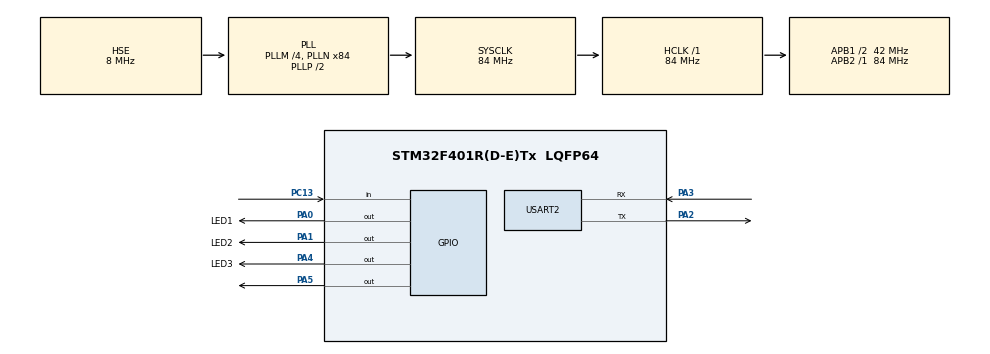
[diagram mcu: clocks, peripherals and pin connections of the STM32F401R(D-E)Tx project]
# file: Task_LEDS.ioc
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Mcu.Family=STM32F4
Mcu.Name=STM32F401R(D-E)Tx
Mcu.Package=LQFP64
NVIC.PriorityGroup=NVIC_PRIORITYGROUP_4
NVIC.TIM1_TRG_COM_TIM11_IRQn=true\:15\:0\:false\:false\:true\:false\:true\:true
NVIC.TimeBase=TIM1_TRG_COM_TIM11_IRQn
NVIC.TimeBaseIP=TIM11
NVIC.USART2_IRQn=true\:0\:0\:false\:false\:true\:true\:true\:true
PA0-WKUP.GPIO_Label=LED1
PA0-WKUP.Signal=GPIO_Output
PA1.GPIO_Label=LED2
PA1.Signal=GPIO_Output
PA2.Mode=Asynchronous
PA2.Signal=USART2_TX
PA3.Mode=Asynchronous
PA3.Signal=USART2_RX
PA4.GPIO_Label=LED3
PA4.Signal=GPIO_Output
PA5.Signal=GPIO_Output
PC13-ANTI_TAMP.Signal=GPIO_Input
PH0\ -\ OSC_IN.Mode=HSE-External-Clock-Source
PH0\ -\ OSC_IN.Signal=RCC_OSC_IN
PH1\ -\ OSC_OUT.Mode=HSE-External-Clock-Source
PH1\ -\ OSC_OUT.Signal=RCC_OSC_OUT
ProjectManager.HeapSize=0x200
ProjectManager.StackSize=0x400
ProjectManager.TargetToolchain=STM32CubeIDE
RCC.48MHZClocksFreq_Value=42000000
RCC.AHBFreq_Value=84000000
RCC.APB1CLKDivider=RCC_HCLK_DIV2
RCC.APB1Freq_Value=42000000
RCC.APB1TimFreq_Value=84000000
RCC.APB2Freq_Value=84000000
RCC.APB2TimFreq_Value=84000000
RCC.CortexFreq_Value=84000000
RCC.HCLKFreq_Value=84000000
RCC.HSE_VALUE=8000000
RCC.HSI_VALUE=16000000
RCC.LSE_VALUE=32768
RCC.PLLM=4
RCC.PLLN=84
RCC.PLLSourceVirtual=RCC_PLLSOURCE_HSE
RCC.SYSCLKFreq_VALUE=84000000
RCC.SYSCLKSource=RCC_SYSCLKSOURCE_PLLCLK
RCC.VCOOutputFreq_Value=168000000
USART2.VirtualMode=VM_ASYNC
VP_SYS_VS_tim11.Mode=TIM11
board=custom

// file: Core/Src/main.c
/* USER CODE BEGIN Header */
/**
  ******************************************************************************
  * @file           : main.c
  * @brief          : Main program body
  ******************************************************************************
  * @attention
  *
  * Copyright (c) 2022 STMicroelectronics.
  * All rights reserved.
  *
  * This software is licensed under terms that can be found in the LICENSE file
  * in the root directory of this software component.
  * If no LICENSE file comes with this software, it is provided AS-IS.
  *
  ******************************************************************************
  */
/* USER CODE END Header */
#include "main.h"
#include "usart.h"
#include "gpio.h"

/* USER CODE BEGIN Includes */
#include "FreeRTOS.h"
#include "task.h"
#include "cmsis_os.h"

#include <stdio.h>
#include <stdarg.h>
#include <string.h>
/* USER CODE END Includes */

/* USER CODE BEGIN PTD */

/**
 * 1. crear dos tareas y realizar la prueba con un leds usando las funciones
 * 		vtaskdelay y vtaskdelayuntil
 */

/* USER CODE END PTD */

/* USER CODE BEGIN PM */
/**
 * 0 : no se desea usar segger system view
 * 1 : se usa para la depuracion
 */
#define SYSTEM_VIEW				1
/* USER CODE END PM */

/* USER CODE BEGIN PV */
osThreadId led1_handle;
osThreadId led2_handle;
osThreadId led3_handle;
/* USER CODE END PV */

void SystemClock_Config(void);
/* USER CODE BEGIN PFP */
void Led1_task(const void *params);
void Led2_task(const void *params);
void Led3_task(const void *params);

void UART_Printf(char *format,...);
/* USER CODE END PFP */

/* USER CODE BEGIN 0 */

osThreadDef(Led1, Led1_task, osPriorityNormal, 0, 128);
osThreadDef(Led2, Led2_task, osPriorityNormal, 0, 128);
osThreadDef(Led3, Led3_task, osPriorityNormal, 0, 128);
/* USER CODE END 0 */

int main(void)
{

  /* MCU Configuration--------------------------------------------------------*/

  /* Reset of all peripherals, Initializes the Flash interface and the Systick. */
  HAL_Init();

  /* Configure the system clock */
  SystemClock_Config();

  /* Initialize all configured peripherals */
  MX_GPIO_Init();
  MX_USART2_UART_Init();
  /* USER CODE BEGIN 2 */
#if SYSTEM_VIEW
//  NVIC_SetPriorityGrouping(0);
  DWT->CTRL |= 1;
  SEGGER_SYSVIEW_Conf();
  /*solo se va usar cuando se trabaje en modo one shot*/
//  SEGGER_SYSVIEW_Start();

#endif

  led1_handle = osThreadCreate(osThread(Led1), NULL);
  configASSERT(led1_handle!=NULL);

  led2_handle = osThreadCreate(osThread(Led2), NULL);
  configASSERT(led2_handle!=NULL);

  led3_handle = osThreadCreate(osThread(Led3), NULL);
  configASSERT(led3_handle!=NULL);

  /* inicializa el kernel*/
  osKernelStart();
  /* USER CODE END 2 */

  /* Infinite loop */
  while (1)
  {

  }
}

void SystemClock_Config(void)
{
  RCC_OscInitTypeDef RCC_OscInitStruct = {0};
  RCC_ClkInitTypeDef RCC_ClkInitStruct = {0};

  /** Configure the main internal regulator output voltage
  */
  __HAL_RCC_PWR_CLK_ENABLE();
  __HAL_PWR_VOLTAGESCALING_CONFIG(PWR_REGULATOR_VOLTAGE_SCALE2);

  /** Initializes the RCC Oscillators according to the specified parameters
  * in the RCC_OscInitTypeDef structure.
  */
  RCC_OscInitStruct.OscillatorType = RCC_OSCILLATORTYPE_HSE;
  RCC_OscInitStruct.HSEState = RCC_HSE_BYPASS;
  RCC_OscInitStruct.PLL.PLLState = RCC_PLL_ON;
  RCC_OscInitStruct.PLL.PLLSource = RCC_PLLSOURCE_HSE;
  RCC_OscInitStruct.PLL.PLLM = 4;
  RCC_OscInitStruct.PLL.PLLN = 84;
  RCC_OscInitStruct.PLL.PLLP = RCC_PLLP_DIV2;
  RCC_OscInitStruct.PLL.PLLQ = 4;
  if (HAL_RCC_OscConfig(&RCC_OscInitStruct) != HAL_OK)
  {
    Error_Handler();
  }

  /** Initializes the CPU, AHB and APB buses clocks
  */
  RCC_ClkInitStruct.ClockType = RCC_CLOCKTYPE_HCLK|RCC_CLOCKTYPE_SYSCLK
                              |RCC_CLOCKTYPE_PCLK1|RCC_CLOCKTYPE_PCLK2;
  RCC_ClkInitStruct.SYSCLKSource = RCC_SYSCLKSOURCE_PLLCLK;
  RCC_ClkInitStruct.AHBCLKDivider = RCC_SYSCLK_DIV1;
  RCC_ClkInitStruct.APB1CLKDivider = RCC_HCLK_DIV2;
  RCC_ClkInitStruct.APB2CLKDivider = RCC_HCLK_DIV1;

  if (HAL_RCC_ClockConfig(&RCC_ClkInitStruct, FLASH_LATENCY_2) != HAL_OK)
  {
    Error_Handler();
  }
}

/* USER CODE BEGIN 4 */
void Led1_task(const void *params){

	for(;;){
		HAL_GPIO_TogglePin(LED1_GPIO_Port, LED1_Pin);
		UART_Printf("tarea led1\r\n");
		SEGGER_SYSVIEW_PrintfHost("tarea led1\r\n");
		osDelay(400);
	}
	/*delete task*/
	osThreadTerminate(led1_handle);
}
void Led2_task(const void *params){
	for(;;){
		for(uint32_t i = 0; i<5;i++){
			HAL_GPIO_TogglePin(LED2_GPIO_Port, LED2_Pin);
			osDelay(50);
			UART_Printf("tarea led2\r\n");
			SEGGER_SYSVIEW_PrintfHost("tarea led2\r\n");
		}
		osDelay(1000);
	}
	/*delete task*/
	osThreadTerminate(led2_handle);
}
void Led3_task(const void *params){

	uint32_t wakeuptime;
	wakeuptime = osKernelSysTick();

	for(;;){
		HAL_GPIO_TogglePin(LED3_GPIO_Port, LED3_Pin);
		UART_Printf("tarea led3\r\n");
		SEGGER_SYSVIEW_PrintfHost("tarea led3\r\n");
		osDelayUntil(&wakeuptime, 500);
	}
	/*delete task*/
	osThreadTerminate(led3_handle);
}

/***************************************************************/
BaseType_t count;
void vApplicationIdleHook( void ){
	count++;
	UART_Printf("hook function->%d\r\n",count);

	//__WFI();		//modo de bajo consumo (despierta con una IT)
	//__WFE();		// despierta con un evento
	return;
}
/**
 * se va ejecutar cada que ocurra una ISR del tick
 */
void vApplicationTickHook( void ){

	return;
}

void UART_Printf(char *format,...){
    char str[80];

    /*Extract the the argument list using VA apis */
    va_list args;
    va_start(args, format);
    vsprintf(str, format,args);
    HAL_UART_Transmit(&huart2, (uint8_t*)str, strlen(str), 10);
    va_end(args);
}
/* USER CODE END 4 */

void HAL_TIM_PeriodElapsedCallback(TIM_HandleTypeDef *htim)
{
  if (htim->Instance == TIM11) {
    HAL_IncTick();
  }
}

void Error_Handler(void)
{
  __disable_irq();
  while (1)
  {
  }
}
